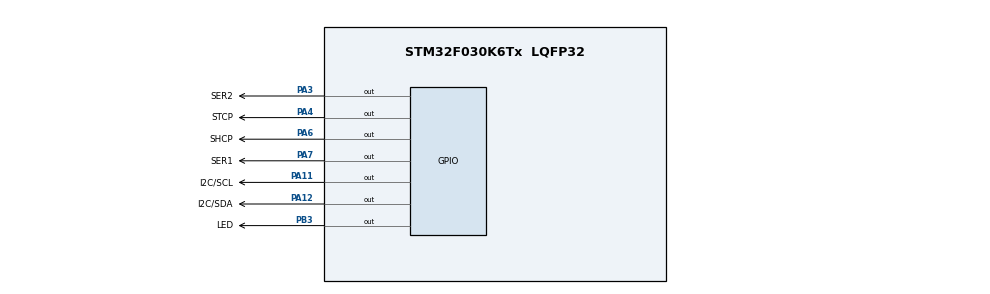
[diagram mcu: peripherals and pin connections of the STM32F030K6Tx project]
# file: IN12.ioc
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Mcu.Family=STM32F0
Mcu.Name=STM32F030K6Tx
Mcu.Package=LQFP32
PA11.GPIO_Label=I2C/SCL
PA11.Signal=GPIO_Output
PA12.GPIO_Label=I2C/SDA
PA12.Signal=GPIO_Output
PA13.Mode=Serial_Wire
PA13.Signal=SYS_SWDIO
PA14.Mode=Serial_Wire
PA14.Signal=SYS_SWCLK
PA3.GPIO_Label=SER2
PA3.GPIO_ModeDefaultOutputPP=GPIO_MODE_OUTPUT_PP
PA3.GPIO_PuPd=GPIO_NOPULL
PA3.GPIO_Speed=GPIO_SPEED_FREQ_LOW
PA3.Signal=GPIO_Output
PA4.GPIO_Label=STCP
PA4.Signal=GPIO_Output
PA6.GPIO_Label=SHCP
PA6.Signal=GPIO_Output
PA7.GPIO_Label=SER1
PA7.Signal=GPIO_Output
PB3.GPIO_Label=LED
PB3.Signal=GPIO_Output
PB6.Signal=USART1_TX
PB7.Signal=USART1_RX
PF0-OSC_IN.Mode=HSE-External-Oscillator
PF0-OSC_IN.Signal=RCC_OSC_IN
PF1-OSC_OUT.Mode=HSE-External-Oscillator
PF1-OSC_OUT.Signal=RCC_OSC_OUT
ProjectManager.HeapSize=0x200
ProjectManager.StackSize=0x400
ProjectManager.TargetToolchain=STM32CubeIDE
board=custom

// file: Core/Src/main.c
/* USER CODE BEGIN Header */
/**
  ******************************************************************************
  * @file           : main.c
  * @brief          : Main program body
  ******************************************************************************
  * @attention
  *
  * Copyright (c) 2022 STMicroelectronics.
  * All rights reserved.
  *
  * This software is licensed under terms that can be found in the LICENSE file
  * in the root directory of this software component.
  * If no LICENSE file comes with this software, it is provided AS-IS.
  *
  ******************************************************************************
  */
/* USER CODE END Header */
#include "main.h"

/* USER CODE BEGIN Includes */

//----------------------显示数字真�?�表----------------------//
 /*
  *                  A B C D   OUT
  *                  0 0 0 0      3
  *                  1 0 0 0      4
  *                  1 1 0 0      7
  *                  0 1 0 0      6
  *                  0 0 1 0     0
  *                  1 0 1 0      5
  *                  0 1 1 0      9
  *                  1 1 1 0       8
  *                  0 0 0 1      1
  *                  1 0 0 1      2
  *                  输入ADBC
*/

//----------------------数据位宏----------------------//
//1+�?4�?+0000 共九�? 第一�?1为占�?
#define L0  0x110  //100010000
#define L1  0x140  //101000000
#define L2 0x1c0  //111000000
#define L3 0x100  //100000000
#define L4 0x180 //110000000
#define L5 0x190 //110010000
#define L6 0x120 //100100000
#define L7 0x1a0 //110100000
#define L8 0x1b0 //110110000
#define L9 0x130 //100110000

//1+0000+�?4�? 共九�? 第一�?1为占�?
#define R0  0x101  //100000001
#define R1  0x104  //100000001
#define R2 0x10c  //100001100
#define R3 0x100  //100000000
#define R4 0x108 //100001000
#define R5 0x109 //100001001
#define R6 0x102 //100000010
#define R7 0x10a //100001010
#define R8 0x10b //100001011
#define R9 0x103 //100000011

/* USER CODE END Includes */

void SystemClock_Config(void);
static void MX_GPIO_Init(void);
/* USER CODE BEGIN PFP */
uint32_t Show_Num[4] = {0,0,0,0};
uint32_t n1234[4] = {0};
/* USER CODE END PFP */

int main(void)
{

  /* MCU Configuration--------------------------------------------------------*/

  /* Reset of all peripherals, Initializes the Flash interface and the Systick. */
  HAL_Init();

  /* Configure the system clock */
  SystemClock_Config();

  /* Initialize all configured peripherals */
  MX_GPIO_Init();
  /* USER CODE BEGIN 2 */
  DateTime TIME;
  DateTime* time = &TIME;

  DS3231_Init(); //时钟模式初始�???

  //DS3231_setDate(22,3,31);
  //DS3231_setTime(15,45,10);
  /* USER CODE END 2 */

  /* Infinite loop */
  while (1)
  {

  }
}

void SystemClock_Config(void)
{
  RCC_OscInitTypeDef RCC_OscInitStruct = {0};
  RCC_ClkInitTypeDef RCC_ClkInitStruct = {0};

  /** Initializes the RCC Oscillators according to the specified parameters
  * in the RCC_OscInitTypeDef structure.
  */
  RCC_OscInitStruct.OscillatorType = RCC_OSCILLATORTYPE_HSI;
  RCC_OscInitStruct.HSIState = RCC_HSI_ON;
  RCC_OscInitStruct.HSICalibrationValue = RCC_HSICALIBRATION_DEFAULT;
  RCC_OscInitStruct.PLL.PLLState = RCC_PLL_NONE;
  if (HAL_RCC_OscConfig(&RCC_OscInitStruct) != HAL_OK)
  {
    Error_Handler();
  }

  /** Initializes the CPU, AHB and APB buses clocks
  */
  RCC_ClkInitStruct.ClockType = RCC_CLOCKTYPE_HCLK|RCC_CLOCKTYPE_SYSCLK
                              |RCC_CLOCKTYPE_PCLK1;
  RCC_ClkInitStruct.SYSCLKSource = RCC_SYSCLKSOURCE_HSI;
  RCC_ClkInitStruct.AHBCLKDivider = RCC_SYSCLK_DIV1;
  RCC_ClkInitStruct.APB1CLKDivider = RCC_HCLK_DIV1;

  if (HAL_RCC_ClockConfig(&RCC_ClkInitStruct, FLASH_LATENCY_0) != HAL_OK)
  {
    Error_Handler();
  }
}

static void MX_GPIO_Init(void)
{
  GPIO_InitTypeDef GPIO_InitStruct = {0};

  /* GPIO Ports Clock Enable */
  __HAL_RCC_GPIOF_CLK_ENABLE();
  __HAL_RCC_GPIOA_CLK_ENABLE();
  __HAL_RCC_GPIOB_CLK_ENABLE();

  /*Configure GPIO pin Output Level */
  HAL_GPIO_WritePin(GPIOA, SER2_Pin|STCP_Pin|SHCP_Pin|SER1_Pin
                          |I2C_SCL_Pin|I2C_SDA_Pin, GPIO_PIN_RESET);

  /*Configure GPIO pin Output Level */
  HAL_GPIO_WritePin(LED_GPIO_Port, LED_Pin, GPIO_PIN_RESET);

  /*Configure GPIO pins : SER2_Pin STCP_Pin SHCP_Pin SER1_Pin
                           I2C_SCL_Pin I2C_SDA_Pin */
  GPIO_InitStruct.Pin = SER2_Pin|STCP_Pin|SHCP_Pin|SER1_Pin
                          |I2C_SCL_Pin|I2C_SDA_Pin;
  GPIO_InitStruct.Mode = GPIO_MODE_OUTPUT_PP;
  GPIO_InitStruct.Pull = GPIO_NOPULL;
  GPIO_InitStruct.Speed = GPIO_SPEED_FREQ_LOW;
  HAL_GPIO_Init(GPIOA, &GPIO_InitStruct);

  /*Configure GPIO pin : LED_Pin */
  GPIO_InitStruct.Pin = LED_Pin;
  GPIO_InitStruct.Mode = GPIO_MODE_OUTPUT_PP;
  GPIO_InitStruct.Pull = GPIO_NOPULL;
  GPIO_InitStruct.Speed = GPIO_SPEED_FREQ_LOW;
  HAL_GPIO_Init(LED_GPIO_Port, &GPIO_InitStruct);

  /*Configure GPIO pins : PB6 PB7 */
  GPIO_InitStruct.Pin = GPIO_PIN_6|GPIO_PIN_7;
  GPIO_InitStruct.Mode = GPIO_MODE_AF_PP;
  GPIO_InitStruct.Pull = GPIO_NOPULL;
  GPIO_InitStruct.Speed = GPIO_SPEED_FREQ_HIGH;
  GPIO_InitStruct.Alternate = GPIO_AF0_USART1;
  HAL_GPIO_Init(GPIOB, &GPIO_InitStruct);

}

/* USER CODE BEGIN 4 */

//-------------------------------------//
//
//-------------------------------------//
void delay_us(int16_t nus)
{
	int32_t temp;
	SysTick->LOAD = nus*9;
	SysTick->VAL = 0X00;
	SysTick->CTRL = 0X10;
	do
	{
		temp=SysTick->CTRL;
	}
	while((temp&0x01)&&(!(temp&(1<<16))));
	SysTick->CTRL = 0x00;
	SysTick->VAL = 0x00;
}

//-----------------------------------------------------------//
// 向两�?595写数据，上升沿时序，两片595共用时钟与�?��?�线，但各自用一条数据线
// NUL++/--只是起到�?个延时的作用，虽然实际上可能也没啥用
//
//-----------------------------------------------------------//
void Write_74hc595_Test(uint32_t TxData1,uint32_t TxData2){
	uint8_t i,NUL=0;
	SER1_L;
	STCP_L;
	SHCP_L;
	for(i=0;i<9;i++)
	{
		if(TxData1 & 0x100)	{
			SER1_H;
			if(TxData2 & 0x100) SER2_H;
			else SER2_L;
		}
		else	{
			SER1_L;
			if(TxData2 & 0x100) SER2_H;
			else SER2_L;
		}

		NUL++;
		SHCP_H;//时钟线上升沿，加载两条数据线到移位寄存器

		TxData1 <<= 1;
		TxData2 <<= 1;

		NUL--;
		SHCP_L;
	}

	STCP_H;//选�?�上升沿，锁存器输出

	NUL++;

	STCP_L;

}

//-----------------------------------------------------------//
// �?595要输入的数据合成，共九位
// �?高位�?1占位，剩�?8位高四位为左边管子，低四位为右边管子
// 具体数据详见�?上方真�?�表
//-----------------------------------------------------------//
uint32_t Bytes_Config(uint32_t n1,uint32_t n2){
	uint32_t n3 = 0x0;
	n3 = n1 | n2;
	return n3;
}

//-----------------------------------------------------------//
//0不显示，1显示
//-----------------------------------------------------------//
uint32_t Time_Check(){
	uint16_t now_time = Show_Num[0]*10+Show_Num[1];
	if(now_time==24 || now_time<7) return 0;
	if(now_time>7 && now_time<12) return 0;
	if(now_time>14 && now_time<18) return 0;
	return 1;
}

//-----------------------------------------------------------//
//显示Show_Num数组的四个数字，目前用于显示时间
//-----------------------------------------------------------//
void Write_Num_Time(){
	n1234[0] = Num_Select_L(Show_Num[0]);
	n1234[1] = Num_Select_R(Show_Num[1]);
	n1234[2] = Num_Select_L(Show_Num[2]);
	n1234[3] = Num_Select_R(Show_Num[3]);
	uint32_t n12 = Bytes_Config(n1234[0],n1234[1]);
	uint32_t n34 = Bytes_Config(n1234[2],n1234[3]);
	Write_74hc595_Test(n12,n34);
}

//-----------------------------------------------------------//
//
//-----------------------------------------------------------//
void Write_Num_UP(){
	n1234[0] = Num_Select_L(Show_Num[0]);
	n1234[1] = Num_Select_R(Show_Num[1]);
	n1234[2] = Num_Select_L(Show_Num[2]);
	n1234[3] = Num_Select_R(Show_Num[3]);
	uint32_t n12 = Bytes_Config(n1234[0],n1234[1]);
	uint32_t n34 = Bytes_Config(n1234[2],n1234[3]);
	Write_74hc595_Test(n12,n34);
	Show_Num[0] = (Show_Num[0]+11)%10;
	Show_Num[1] = (Show_Num[0]+12)%10;
	Show_Num[2] = (Show_Num[0]+13)%10;
	Show_Num[3] = (Show_Num[0]+14)%10;
}

//-----------------------------------------------------------//
//
//-----------------------------------------------------------//
uint32_t Num_Select_L(uint16_t num){
	switch(num){
	case 0:return L0; break;
	case 1: return L1; break;
	case 2:return L2; break;
	case 3:return L3; break;
	case 4:return L4; break;
	case 5:return L5; break;
	case 6:return L6; break;
	case 7:return L7; break;
	case 8:return L8; break;
	case 9:return L9; break;
	default:return L0;
	}
}

//-----------------------------------------------------------//
//
//-----------------------------------------------------------//
uint32_t Num_Select_R(uint16_t num){
	switch(num){
	case 0:return R0; break;
	case 1:return R1; break;
	case 2:return R2; break;
	case 3:return R3; break;
	case 4:return R4; break;
	case 5:return R5; break;
	case 6:return R6; break;
	case 7:return R7; break;
	case 8:return R8; break;
	case 9:return R9; break;
	default:return R0;
	}
}

//-----------------------------------------------------------//
//
//-----------------------------------------------------------//
uint16_t Random_Num(){
	uint16_t rnum = 0;
	srand(SysTick->VAL);
	rnum = rand() % 9;    //生成0�?9内的随机整数
	return rnum;

}

/*------------------------------------------------------------------------------------------------
以下为模拟I2C相关函数
------------------------------------------------------------------------------------------------*/

//-------------------------------------//
// 配置SDA为推挽输�??????
//-------------------------------------//
static void SDA_OUT(void)
{
    GPIO_InitTypeDef GPIO_Initure;

    GPIO_Initure.Pin = I2C_SDA_Pin; // SDA引脚
    GPIO_Initure.Mode = GPIO_MODE_OUTPUT_PP; // 推挽输出模式
    GPIO_Initure.Pull = GPIO_NOPULL; // �??????
    GPIO_Initure.Speed = GPIO_SPEED_HIGH; // 高�??
    HAL_GPIO_Init(I2C_SDA_GPIOx, &GPIO_Initure); // GPIOF初始�??????
}

//-------------------------------------//
// 配置SDA为上拉输�??????
//-------------------------------------//
static void SDA_IN(void)
{
    GPIO_InitTypeDef GPIO_Initure;

    GPIO_Initure.Pin = I2C_SDA_Pin; // SDA引脚
    GPIO_Initure.Mode = GPIO_MODE_INPUT; // 输入模式
    GPIO_Initure.Pull = GPIO_PULLUP; // 上拉
    GPIO_Initure.Speed = GPIO_SPEED_HIGH; // 高�??
    HAL_GPIO_Init(I2C_SDA_GPIOx, &GPIO_Initure); // GPIOF初始�??????
}

//-------------------------------------//
//I2C初始�??????
//本来应该放引脚时钟初始化之类的，但cube ide在main.c中已经自动生成了
//-------------------------------------//
void I2C_Init(void){
	I2C_SDA_H;
	I2C_SCL_H;

}

//-------------------------------------//
//模拟I2C产生起始条件—�?�SCL为高时SDA产生下降�??????
//起始和终止的延时目的都是让电平稳定了再继续，防止误判
//-------------------------------------//
void I2C_Start(void){
	SDA_OUT();//配置成输出模�??????
	I2C_SDA_H;
	I2C_SCL_H;//再次确保都为�??????
	delay_us(2);//4
	I2C_SDA_L;//SDA下降沿，通信�??????�??????
	delay_us(2);
	I2C_SCL_L;//时钟线拉低，准备传输数据
	delay_us(2);//4
}

//-------------------------------------//
//模拟I2C产生终止条件—�?�SCL为高时SDA产生上升�??????
//-------------------------------------//
void I2C_Stop(void){
	SDA_OUT();//配置成输出模�??????
	I2C_SCL_L;//先将时钟线拉低，防止SDA改变影响数据传输
	I2C_SDA_L;//SDA先置�??????
	I2C_SCL_H;//时钟线置�??????
	delay_us(2);//4
	I2C_SDA_H;//SDA拉高，�?�信结束
	delay_us(2);//4
}

//-------------------------------------//
//模拟I2C等待响应
//-------------------------------------//
uint8_t I2C_Wait_Ask(void)
{
    uint16_t tempTime = 0;
    SDA_IN();//配置成输入模�??????
    I2C_SDA_H;   //释放数据总线，交由从机控�??????
    delay_us(2);
    I2C_SCL_H;
    delay_us(1);
    while (HAL_GPIO_ReadPin(I2C_SDA_GPIOx,I2C_SDA_Pin)) //读到 0 ，即接收到ACK，循环跳�??????
    {
        tempTime++;
        if(tempTime > 300)
        {
            I2C_Stop();
            return 1;			//超时返回1
        }
    }
    I2C_SCL_L;
    return 0;							//接收�?????? ACK 返回0
}

//-------------------------------------//
//模拟I2C响应
//-------------------------------------//
void I2C_Ack(void)
{
	I2C_SCL_L;
    SDA_OUT();
    I2C_SDA_L;
    delay_us(2);
    I2C_SCL_H;
    delay_us(3);
    I2C_SCL_L;
}

//-------------------------------------//
//主机不产生应答信号NACK
//-------------------------------------//
void I2C_NAck(void)
{
	I2C_SCL_L;
    SDA_OUT();
    I2C_SDA_H;
    delay_us(2);
    I2C_SCL_H;
    delay_us(3);
    I2C_SCL_L;
}

//-------------------------------------//
//i2c写数�??????
//-------------------------------------//
void I2C_WriteByte(uint8_t data)
{
	uint8_t i;
    SDA_OUT();
    for(i=0;i<8;i++)
    {
        I2C_SCL_L;
        delay_us(2);
        if(data & 0x80)
            I2C_SDA_H;
        else
            I2C_SDA_L;
        I2C_SCL_H;
        delay_us(2);
        I2C_SCL_L;
        data<<=1;
    }
}

//-------------------------------------//
//i2c读数�??????
//�??????1个字节，ack=1时，发�?�ACK，ack=0，发送nACK
//-------------------------------------//
uint8_t I2C_Read_Byte(uint8_t ack)
{
	uint8_t i,receive=0;
	SDA_IN();//SDA设置为输�??????
    for(i=0;i<8;i++ ){
        I2C_SCL_L;
        delay_us(2);
		I2C_SCL_H;
        receive<<=1;
        if(HAL_GPIO_ReadPin(I2C_SDA_GPIOx,I2C_SDA_Pin)){
        	receive++;
        }
		delay_us(1);
	}
    if (!ack)
        I2C_NAck();//发�?�nACK
    else
        I2C_Ack(); //发�?�ACK
    return receive;
}

/*------------------------------------------------------------------------------------------------
以下为DS3231相关函数
------------------------------------------------------------------------------------------------*/

//-------------------------------------//
//初始化，实际上就是模拟I2C初始�??????
//-------------------------------------//
void DS3231_Init(void){
	I2C_Init();
}

//-------------------------------------//
//
//-------------------------------------//
uint8_t I2C_DS3231_ByteWrite(uint8_t WriteAddr , uint8_t date)
{
	I2C_Start();
	//printf("I2C_DS3231_ByteWrite start!");
	I2C_WriteByte(DS3231_ADDRESS_Write);
	//printf("write finish,wait ask!");
	if(I2C_Wait_Ask())
		return 1;
	//printf("add ask ok!");
	I2C_WriteByte(WriteAddr);
	if(I2C_Wait_Ask())
		return 2;
	//printf("date ask ok!");
	I2C_WriteByte(date);
	if(I2C_Wait_Ask())
		return 3;
	I2C_Stop();
	return 0;
}

//-------------------------------------//
//
//-------------------------------------//
uint8_t I2C_DS3231_ByteRead(uint8_t ReadAddr,uint8_t* Receive)
{
	uint8_t data = 0;

	I2C_Start();													//产生起始�??????
	I2C_WriteByte(DS3231_ADDRESS_Write); 	//发�?�从机地�??????（写模式�??????
	if(I2C_Wait_Ask())										//等待响应
		return 1;
	I2C_WriteByte(ReadAddr);							//发�?�寄存器地址
	if(I2C_Wait_Ask())										//等待响应
		return 2;
	I2C_Start();													//重复起始�??????
	I2C_WriteByte(DS3231_ADDRESS_Read);		//发�?�从机地�??????（读模式�??????
	if(I2C_Wait_Ask())										//等待响应
		return 3;
	data = I2C_Read_Byte(0);							//读取数据，参数设�??????0 --- NACK
	*Receive = data;											//将结果赋值给接收�??????
	I2C_Stop();
	return 0;
}

//-------------------------------------//
//
//-------------------------------------//
uint8_t DS3231_setDate(uint8_t year,uint8_t mon,uint8_t day)
{
	uint8_t temp_H , temp_L;
	temp_L = year%10;
	temp_H = year/10;
	year = (temp_H << 4) + temp_L;
	//printf("start DS3231 SETDATE \r\n");
	if(I2C_DS3231_ByteWrite(DS3231_YEAR_REG,year)) //set year
	{
			//printf("set year error\r\n");
			return 1;
	}
	//printf("year ok \r\n");
	temp_L = mon%10;
	temp_H = mon/10;
	mon = (temp_H << 4) + temp_L;
	if(I2C_DS3231_ByteWrite(DS3231_MONTH_REG,mon)) //set mon
	{
		//printf("set month error\r\n");
		return 2;
	}
	//printf("month ok \r\n");
	temp_L = day%10;
	temp_H = day/10;
	day = (temp_H << 4) + temp_L;
	if(I2C_DS3231_ByteWrite(DS3231_MDAY_REG,day)) //set day
	{
		//printf("set day error\r\n");
		return 3;
	}
	//printf("all ok \r\n");
	return 0;
}

//-------------------------------------//
//
//-------------------------------------//
uint8_t DS3231_setTime(uint8_t hour , uint8_t min , uint8_t sec)
{
	uint8_t temp_H , temp_L;
	temp_L = hour%10;
	temp_H = hour/10;
	hour = (temp_H << 4) + temp_L;
	//printf("start DS3231 SETTIME \r\n");
	if(I2C_DS3231_ByteWrite(DS3231_HOUR_REG,hour)){ //set hour
		//printf("set time error \r\n");
		return 1;
	}
	//printf("HOUR OK \r\n");
	temp_L = min%10;
	temp_H = min/10;
	min = (temp_H << 4) + temp_L;
	if(I2C_DS3231_ByteWrite(DS3231_MIN_REG,min)){ //SET min
		//printf("set time error \r\n");
		return 2;
	}
	//printf("MIN OK \r\n");
	temp_L = sec%10;
	temp_H = sec/10;
	sec = (temp_H << 4) + temp_L;
	if(I2C_DS3231_ByteWrite(DS3231_SEC_REG,sec)){
		//printf("set time error \r\n");//SET sec
		return 3;
	}
	//printf("ALL OK \r\n");
	return 0;
}

//-------------------------------------//
//
//-------------------------------------//
static uint8_t bcdToDec(uint8_t byte)
{
	uint8_t temp_H , temp_L;
	temp_L = byte & 0x0f;
	temp_H = (byte & 0xf0) >> 4;
	return ( temp_H * 10 )+ temp_L;
}

//-------------------------------------//
//
//-------------------------------------//
uint8_t DS3231_getTime(DateTime* ans)
{
	uint8_t receive = 0;
	if(I2C_DS3231_ByteRead(DS3231_HOUR_REG,&receive))
		return 1;
	ans->hour = bcdToDec(receive);
	if(I2C_DS3231_ByteRead(DS3231_MIN_REG,&receive))
		return 2;
	ans->minute = bcdToDec(receive);
	if(I2C_DS3231_ByteRead(DS3231_SEC_REG,&receive))
		return 3;
	ans->second = bcdToDec(receive);
	return 0;
}

//-------------------------------------//
//
//-------------------------------------//
uint8_t DS3231_getDate(DateTime* ans)
{
	uint8_t receive = 0;
	if(I2C_DS3231_ByteRead(DS3231_YEAR_REG,&receive))
		return 1;
	ans->year = bcdToDec(receive) + 2000;
	if(I2C_DS3231_ByteRead(DS3231_MONTH_REG,&receive))
		return 2;
	ans->month = bcdToDec(receive);
	if(I2C_DS3231_ByteRead(DS3231_MDAY_REG,&receive))
		return 3;
	ans->dayofmonth = bcdToDec(receive);
	return 0;
}

/* USER CODE END 4 */

void Error_Handler(void)
{
  __disable_irq();
  while (1)
  {
  }
}
